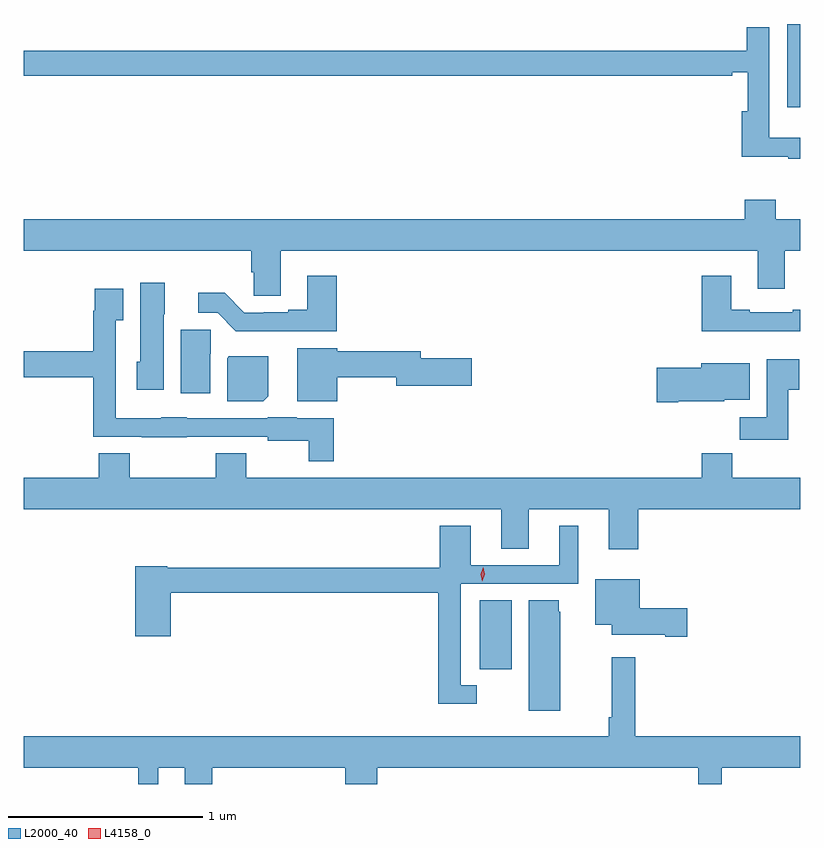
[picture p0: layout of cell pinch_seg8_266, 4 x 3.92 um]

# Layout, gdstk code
import gdstk
lib = gdstk.Library(unit=1e-6, precision=1e-09)
def R(c, l, rs):  # rectangles x0, y0, x1, y1
    for r in rs: c.add(gdstk.rectangle(r[:2], r[2:], *l))
def P(c, l, *ps):  # polygons
    for p in ps: c.add(gdstk.Polygon(p, *l))
L2000_40 = (2000, 40)
L4158_0 = (4158, 0)

pinch_seg8_266 = lib.new_cell('pinch_seg8_266')
R(pinch_seg8_266, L2000_40, [(566.708,1156.968,566.872,1157.324), (568.292,1159.863,568.358,1160.293)])
P(pinch_seg8_266, L2000_40, [(568.358,1159.708),(568.2,1159.708),(568.2,1160.275),(568.084,1160.275),(568.084,1160.155),(564.358,1160.155),(564.358,1160.026),(568.007,1160.026),(568.007,1160.045),(568.088,1160.045),(568.088,1159.843),(568.058,1159.843),(568.058,1159.609),(568.297,1159.609),(568.297,1159.599),(568.358,1159.599)],
  [(568.073,1159.387),(568.073,1159.288),(564.358,1159.288),(564.358,1159.124),(565.529,1159.124),(565.529,1159.014),(565.542,1159.014),(565.542,1158.892),(565.681,1158.892),(565.681,1159.124),(568.139,1159.124),(568.139,1158.93),(568.279,1158.93),(568.279,1159.124),(568.358,1159.124),(568.358,1159.288),(568.233,1159.288),(568.233,1159.387)],
  [(568.358,1158.82),(568.319,1158.82),(568.319,1158.807),(568.099,1158.807),(568.099,1158.82),(568.003,1158.82),(568.003,1158.997),(567.851,1158.997),(567.851,1158.71),(568.358,1158.71)],
  [(565.97,1158.997),(565.817,1158.997),(565.817,1158.82),(565.721,1158.82),(565.721,1158.807),(565.594,1158.807),(565.594,1158.804),(565.494,1158.804),(565.392,1158.907),(565.257,1158.907),(565.257,1158.804),(565.356,1158.804),(565.451,1158.71),(565.97,1158.71)],
  [(565.078,1158.798),(565.084,1158.798),(565.084,1158.961),(564.959,1158.961),(564.959,1158.552),(564.941,1158.552),(564.941,1158.408),(565.078,1158.408)],
  [(565.955,1158.262),(565.764,1158.262),(565.764,1158.268),(565.614,1158.268),(565.614,1158.261),(565.197,1158.261),(565.197,1158.268),(565.065,1158.268),(565.065,1158.262),(564.831,1158.262),(564.831,1158.767),(564.871,1158.767),(564.871,1158.928),(564.723,1158.928),(564.723,1158.815),(564.715,1158.815),(564.715,1158.608),(564.358,1158.608),(564.358,1158.472),(564.715,1158.472),(564.715,1158.165),(564.965,1158.165),(564.965,1158.164),(565.197,1158.164),(565.197,1158.165),(565.614,1158.165),(565.614,1158.146),(565.827,1158.146),(565.827,1158.041),(565.955,1158.041)],
  [(565.318,1158.594),(565.322,1158.594),(565.322,1158.717),(565.166,1158.717),(565.166,1158.39),(565.318,1158.39)],
  [(565.972,1158.472),(566.276,1158.472),(566.276,1158.43),(566.665,1158.43),(566.665,1158.572),(566.404,1158.572),(566.404,1158.608),(565.972,1158.608),(565.972,1158.622),(565.766,1158.622),(565.766,1158.35),(565.972,1158.35)],
  [(565.618,1158.376),(565.618,1158.58),(565.414,1158.58),(565.406,1158.572),(565.406,1158.35),(565.592,1158.35)],
  [(568.297,1158.409),(568.354,1158.409),(568.354,1158.565),(568.187,1158.565),(568.187,1158.268),(568.048,1158.268),(568.048,1158.15),(568.297,1158.15)],
  [(567.73,1158.35),(567.966,1158.35),(567.966,1158.356),(568.099,1158.356),(568.099,1158.544),(567.848,1158.544),(567.848,1158.521),(567.618,1158.521),(567.618,1158.343),(567.73,1158.343)],
  [(567.524,1157.792),(568.358,1157.792),(568.358,1157.956),(568.007,1157.956),(568.007,1158.08),(567.851,1158.08),(567.851,1157.956),(565.503,1157.956),(565.503,1158.08),(565.348,1158.08),(565.348,1157.956),(564.903,1157.956),(564.903,1158.08),(564.743,1158.08),(564.743,1157.956),(564.358,1157.956),(564.358,1157.792),(566.819,1157.792),(566.819,1157.59),(566.959,1157.59),(566.959,1157.792),(567.371,1157.792),(567.371,1157.586),(567.524,1157.586)],
  [(566.692,1156.887),(566.61,1156.887),(566.61,1157.409),(567.214,1157.409),(567.214,1157.707),(567.116,1157.707),(567.116,1157.505),(566.662,1157.505),(566.662,1157.707),(566.501,1157.707),(566.501,1157.491),(565.098,1157.491),(565.098,1157.499),(564.932,1157.499),(564.932,1157.139),(565.115,1157.139),(565.115,1157.362),(566.494,1157.362),(566.494,1156.79),(566.692,1156.79)],
  [(567.775,1157.282),(567.532,1157.282),(567.532,1157.431),(567.302,1157.431),(567.302,1157.198),(567.386,1157.198),(567.386,1157.147),(567.662,1157.147),(567.662,1157.135),(567.775,1157.135)],
  [(567.121,1157.265),(567.115,1157.265),(567.115,1157.324),(566.96,1157.324),(566.96,1156.755),(567.121,1156.755)],
  [(565.051,1156.46),(565.187,1156.46),(565.187,1156.377),(565.328,1156.377),(565.328,1156.46),(566.015,1156.46),(566.015,1156.377),(566.18,1156.377),(566.18,1156.46),(567.833,1156.46),(567.833,1156.377),(567.955,1156.377),(567.955,1156.46),(568.358,1156.46),(568.358,1156.624),(567.509,1156.624),(567.509,1157.029),(567.388,1157.029),(567.388,1156.72),(567.373,1156.72),(567.373,1156.624),(564.358,1156.624),(564.358,1156.46),(564.947,1156.46),(564.947,1156.377),(565.051,1156.377)])
P(pinch_seg8_266, L4158_0, [(566.721,1157.421),(566.721,1157.421),(566.712,1157.458),(566.724,1157.494),(566.724,1157.494),(566.724,1157.494),(566.732,1157.457),(566.721,1157.421)])

lib.write_gds('pinch_seg8_266.gds')
